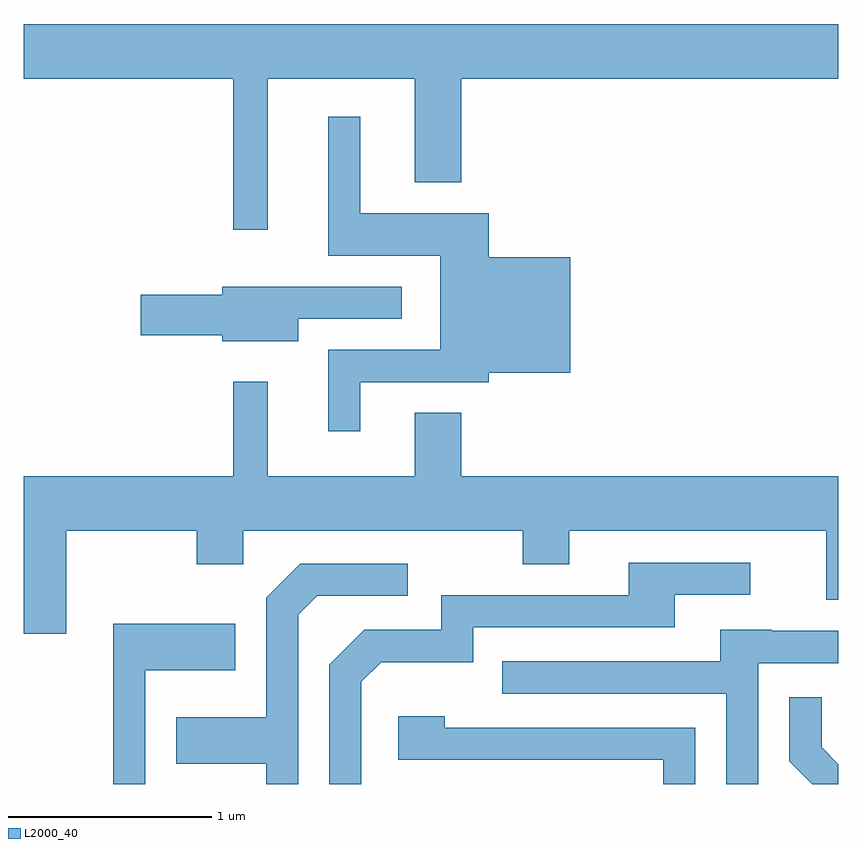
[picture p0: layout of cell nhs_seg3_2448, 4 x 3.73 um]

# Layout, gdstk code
import gdstk
lib = gdstk.Library(unit=1e-6, precision=1e-09)
def P(c, l, *ps):  # polygons
    for p in ps: c.add(gdstk.Polygon(p, *l))
L2000_40 = (2000, 40)

nhs_seg3_2448 = lib.new_cell('nhs_seg3_2448')
P(nhs_seg3_2448, L2000_40, [(258.809,1119.356),(259.531,1119.356),(259.531,1118.846),(259.759,1118.846),(259.759,1119.356),(261.611,1119.356),(261.611,1119.624),(257.611,1119.624),(257.611,1119.356),(258.641,1119.356),(258.641,1118.613),(258.809,1118.613)],
  [(259.264,1117.866),(259.894,1117.866),(259.894,1117.911),(260.294,1117.911),(260.294,1118.479),(259.894,1118.479),(259.894,1118.694),(259.264,1118.694),(259.264,1119.168),(259.106,1119.168),(259.106,1118.486),(259.656,1118.486),(259.656,1118.024),(259.106,1118.024),(259.106,1117.623),(259.264,1117.623)],
  [(258.959,1118.176),(259.468,1118.176),(259.468,1118.334),(258.586,1118.334),(258.586,1118.294),(258.186,1118.294),(258.186,1118.096),(258.586,1118.096),(258.586,1118.066),(258.959,1118.066)],
  [(257.819,1117.136),(258.461,1117.136),(258.461,1116.971),(258.689,1116.971),(258.689,1117.136),(260.061,1117.136),(260.061,1116.971),(260.289,1116.971),(260.289,1117.136),(261.551,1117.136),(261.551,1116.796),(261.611,1116.796),(261.611,1117.404),(259.759,1117.404),(259.759,1117.714),(259.531,1117.714),(259.531,1117.404),(258.809,1117.404),(258.809,1117.868),(258.641,1117.868),(258.641,1117.404),(257.611,1117.404),(257.611,1116.631),(257.819,1116.631)],
  [(259.269,1116.394),(259.367,1116.491),(259.819,1116.491),(259.819,1116.661),(260.809,1116.661),(260.809,1116.821),(261.178,1116.821),(261.178,1116.979),(260.581,1116.979),(260.581,1116.819),(259.661,1116.819),(259.661,1116.649),(259.284,1116.649),(259.111,1116.477),(259.111,1115.892),(259.269,1115.892)],
  [(258.959,1116.724),(259.052,1116.816),(259.498,1116.816),(259.498,1116.974),(258.969,1116.974),(258.801,1116.807),(258.801,1116.219),(258.361,1116.219),(258.361,1115.991),(258.801,1115.991),(258.801,1115.892),(258.959,1115.892)],
  [(258.209,1116.451),(258.649,1116.451),(258.649,1116.679),(258.051,1116.679),(258.051,1115.892),(258.209,1115.892)],
  [(261.219,1116.486),(261.611,1116.486),(261.611,1116.644),(261.285,1116.644),(261.285,1116.649),(261.031,1116.649),(261.031,1116.494),(259.962,1116.494),(259.962,1116.336),(261.061,1116.336),(261.061,1115.892),(261.219,1115.892)],
  [(261.611,1115.99),(261.529,1116.072),(261.529,1116.318),(261.371,1116.318),(261.371,1116.004),(261.483,1115.892),(261.611,1115.892)],
  [(260.909,1116.169),(259.679,1116.169),(259.679,1116.224),(259.451,1116.224),(259.451,1116.011),(260.751,1116.011),(260.751,1115.892),(260.909,1115.892)])

lib.write_gds('nhs_seg3_2448.gds')
